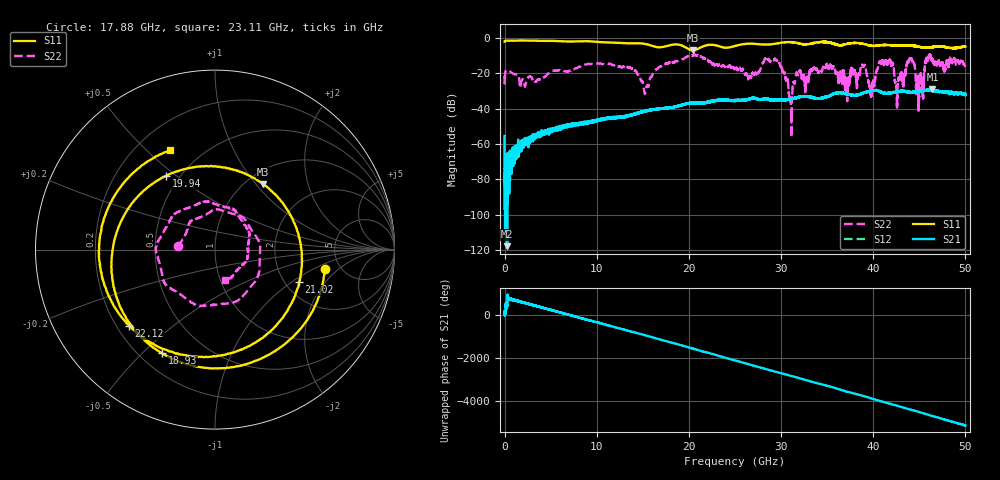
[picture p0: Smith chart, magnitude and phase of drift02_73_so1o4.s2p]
!Created with skrf (http://scikit-rf.org).
# Hz S RI R 50.0
!freq ReS11 ImS11 ReS21 ImS21 ReS12 ImS12 ReS22 ImS22
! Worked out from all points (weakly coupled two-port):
!   10001 points, 300 kHz to 50 GHz, reference 50 ohm
!   highest |S21| = -29.07 dB at 46.43 GHz (marker M1); lowest = -117.9 dB at 275.3 MHz (marker M2)
!   lowest |S11| = -6.9 dB at 20.44 GHz (marker M3), VSWR 2.65, Z = 59.4 + j54.4 ohm
!   |S11| at or under -10 dB: nowhere
!   |S22| runs from -56.2 to -9.1 dB; largest |S21 - S12| = 0.0034
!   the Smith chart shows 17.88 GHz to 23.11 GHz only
!   S11 on the Smith chart (normalised r, x): 17.88 GHz: 3.80, -1.32; 18.93 GHz: 0.29, -0.57; 19.94 GHz: 0.42, +0.46; 21.02 GHz: 2.37, -1.15; 22.12 GHz: 0.25, -0.36; 23.11 GHz: 0.34, +0.59
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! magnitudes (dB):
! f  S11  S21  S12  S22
! 300 kHz  -2.1  -55.8  -54.8  -21.4
! 275.3 MHz  -1.4  -117.9  -73.0  -18.0
! 8.335 GHz  -1.7  -48.0  -48.2  -15.7
! 15.33 GHz  -3.4  -41.1  -41.4  -29.1
! 16.67 GHz  -5.2  -40.3  -40.0  -17.0
! 17.88 GHz  -4.1  -39.6  -39.3  -13.8
! 18.93 GHz  -3.8  -38.5  -38.4  -12.5
! 19.94 GHz  -6.1  -37.0  -36.9  -10.2
! 20.44 GHz  -6.9  -36.7  -36.9  -10.0
! 21.02 GHz  -6.0  -36.8  -36.8  -9.9
! 22.12 GHz  -3.9  -35.9  -36.1  -13.1
! 23.11 GHz  -4.3  -35.1  -35.1  -15.1
! 25 GHz  -4.5  -35.3  -35.3  -17.4
! 29.51 GHz  -3.1  -34.9  -35.0  -12.5
! 31.03 GHz  -2.3  -34.5  -34.6  -34.2
! 33.34 GHz  -3.0  -33.5  -33.4  -17.8
! 38.91 GHz  -3.2  -31.2  -31.1  -16.3
! 39.74 GHz  -4.3  -30.1  -30.0  -30.1
! 41.67 GHz  -3.9  -31.2  -31.1  -13.3
! 42.58 GHz  -4.3  -30.4  -30.2  -39.5
! 46.43 GHz  -5.1  -29.1  -29.4  -12.4
! 50 GHz  -4.8  -32.1  -31.6  -16.0
